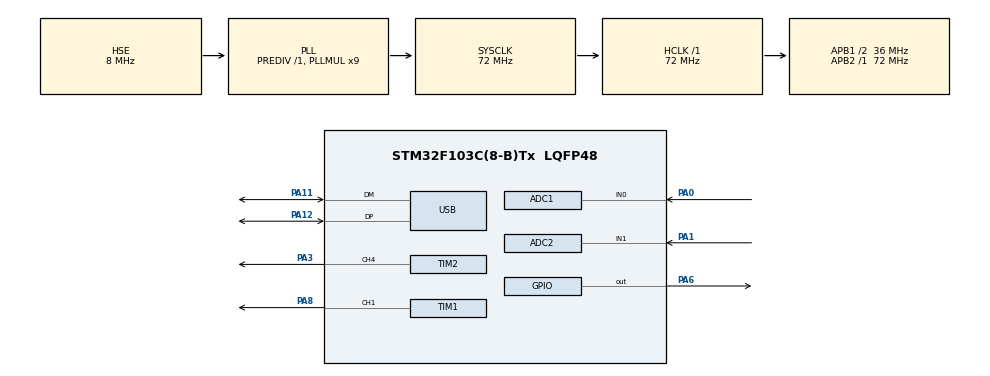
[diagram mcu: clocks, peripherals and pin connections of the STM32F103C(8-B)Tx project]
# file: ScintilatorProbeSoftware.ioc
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ADC1.Channel-0\#ChannelRegularConversion=ADC_CHANNEL_0
ADC1.ContinuousConvMode=ENABLE
ADC1.NbrOfConversionFlag=1
ADC1.Rank-0\#ChannelRegularConversion=1
ADC1.SamplingTime-0\#ChannelRegularConversion=ADC_SAMPLETIME_239CYCLES_5
ADC1.master=1
ADC2.Channel-0\#ChannelRegularConversion=ADC_CHANNEL_1
ADC2.ContinuousConvMode=ENABLE
ADC2.NbrOfConversionFlag=1
ADC2.Rank-0\#ChannelRegularConversion=1
ADC2.SamplingTime-0\#ChannelRegularConversion=ADC_SAMPLETIME_1CYCLE_5
Mcu.Family=STM32F1
Mcu.Name=STM32F103C(8-B)Tx
Mcu.Package=LQFP48
NVIC.ADC1_2_IRQn=true\:0\:0\:false\:false\:true\:true\:true\:true
NVIC.PriorityGroup=NVIC_PRIORITYGROUP_4
NVIC.TIM3_IRQn=true\:0\:0\:false\:false\:true\:true\:true\:true
NVIC.USB_LP_CAN1_RX0_IRQn=true\:0\:0\:false\:false\:true\:false\:true\:true
PA0-WKUP.Signal=ADCx_IN0
PA1.Signal=ADCx_IN1
PA11.Mode=Device
PA11.Signal=USB_DM
PA12.Mode=Device
PA12.Signal=USB_DP
PA13.Mode=Serial_Wire
PA13.Signal=SYS_JTMS-SWDIO
PA14.Mode=Serial_Wire
PA14.Signal=SYS_JTCK-SWCLK
PA3.Signal=S_TIM2_CH4
PA6.Signal=GPIO_Output
PA8.Signal=S_TIM1_CH1
PC14-OSC32_IN.Mode=LSE-External-Oscillator
PC14-OSC32_IN.Signal=RCC_OSC32_IN
PC15-OSC32_OUT.Mode=LSE-External-Oscillator
PC15-OSC32_OUT.Signal=RCC_OSC32_OUT
PD0-OSC_IN.Mode=HSE-External-Oscillator
PD0-OSC_IN.Signal=RCC_OSC_IN
PD1-OSC_OUT.Mode=HSE-External-Oscillator
PD1-OSC_OUT.Signal=RCC_OSC_OUT
ProjectManager.HeapSize=0x200
ProjectManager.StackSize=0x400
ProjectManager.TargetToolchain=STM32CubeIDE
RCC.ADCPresc=RCC_ADCPCLK2_DIV6
RCC.AHBFreq_Value=72000000
RCC.APB1CLKDivider=RCC_HCLK_DIV2
RCC.APB1Freq_Value=36000000
RCC.APB1TimFreq_Value=72000000
RCC.APB2Freq_Value=72000000
RCC.APB2TimFreq_Value=72000000
RCC.HCLKFreq_Value=72000000
RCC.PLLMUL=RCC_PLL_MUL9
RCC.SYSCLKFreq_VALUE=72000000
RCC.SYSCLKSource=RCC_SYSCLKSOURCE_PLLCLK
RCC.USBFreq_Value=48000000
RCC.USBPrescaler=RCC_USBCLKSOURCE_PLL_DIV1_5
SH.ADCx_IN0.0=ADC1_IN0,IN0
SH.ADCx_IN1.0=ADC2_IN1,IN1
SH.S_TIM1_CH1.0=TIM1_CH1,PWM Generation1 CH1
SH.S_TIM2_CH4.0=TIM2_CH4,PWM Generation4 CH4
TIM1.AutoReloadPreload=TIM_AUTORELOAD_PRELOAD_ENABLE
TIM1.Channel-PWM\ Generation1\ CH1=TIM_CHANNEL_1
TIM1.CounterMode=TIM_COUNTERMODE_UP
TIM1.OCIdleState_1=TIM_OCIDLESTATE_RESET
TIM1.OCPolarity_1=TIM_OCPOLARITY_HIGH
TIM1.Period=1400
TIM2.Channel-PWM\ Generation4\ CH4=TIM_CHANNEL_4
TIM2.Period=600
TIM2.Prescaler=100
TIM3.Period=100
TIM3.Prescaler=6399
USB_DEVICE.APP_RX_DATA_SIZE=512
USB_DEVICE.APP_TX_DATA_SIZE=512
USB_DEVICE.CLASS_NAME_FS=CDC
USB_DEVICE.VirtualMode=Cdc
USB_DEVICE.VirtualModeFS=Cdc_FS
VP_TIM3_VS_ClockSourceINT.Mode=Internal
VP_TIM3_VS_OPM.Mode=OPM_bit
VP_USB_DEVICE_VS_USB_DEVICE_CDC_FS.Mode=CDC_FS
board=custom

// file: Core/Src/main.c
/* USER CODE BEGIN Header */
/**
  ******************************************************************************
  * @file           : main.c
  * @brief          : Main program body
  ******************************************************************************
  * @attention
  *
  * Copyright (c) 2025 STMicroelectronics.
  * All rights reserved.
  *
  * This software is licensed under terms that can be found in the LICENSE file
  * in the root directory of this software component.
  * If no LICENSE file comes with this software, it is provided AS-IS.
  *
  ******************************************************************************
  */
/* USER CODE END Header */
#include "main.h"
#include "usb_device.h"

/* USER CODE BEGIN Includes */
#include "usbd_cdc_if.h"
#include <string.h>
#include <math.h>
/* USER CODE END Includes */

/* USER CODE BEGIN PTD */
typedef struct GcodeArgument {
    char name;
    float value;
} GcodeArgument;

typedef struct Gcode {
    int valid;
    char letter;
    int number;
    int arg_len;
    GcodeArgument arguments[32];
} Gcode;
/* USER CODE END PTD */

/* USER CODE BEGIN PM */
#define ADC_TO_VOLTAGE 0.7510653409
#define MAX_PWM 1200

#define PEAK_THRESSHOLD 200
#define PEAK_RESET_SAMPLES 5

#define REPORT_CHUNK 100
#define REPORT_DECIMATION 10
/* USER CODE END PM */

ADC_HandleTypeDef hadc1;
ADC_HandleTypeDef hadc2;

TIM_HandleTypeDef htim1;
TIM_HandleTypeDef htim2;
TIM_HandleTypeDef htim3;

/* USER CODE BEGIN PV */
int pwm_value = 0;

float target_voltage = 0.0;

uint32_t peak_height = 0;
uint32_t peak_reset_counter = 0;

uint16_t voltage_history[REPORT_CHUNK];
uint16_t pwm_history[REPORT_CHUNK];
uint16_t history_index = 0;
uint16_t decimation_index = 0;
/* USER CODE END PV */

void SystemClock_Config(void);
static void MX_GPIO_Init(void);
static void MX_TIM1_Init(void);
static void MX_ADC1_Init(void);
static void MX_ADC2_Init(void);
static void MX_TIM2_Init(void);
static void MX_TIM3_Init(void);

/* USER CODE BEGIN 0 */
uint8_t TxBuffer[] = "Hello World! From STM32 USB CDC Device To Virtual COM Port\r\n";
uint8_t TxBufferLen = sizeof(TxBuffer);
/* USER CODE END 0 */

int main(void)
{

  /* MCU Configuration--------------------------------------------------------*/

  /* Reset of all peripherals, Initializes the Flash interface and the Systick. */
  HAL_Init();

  /* Configure the system clock */
  SystemClock_Config();

  /* Initialize all configured peripherals */
  MX_GPIO_Init();
  MX_USB_DEVICE_Init();
  MX_TIM1_Init();
  MX_ADC1_Init();
  MX_ADC2_Init();
  MX_TIM2_Init();
  MX_TIM3_Init();
  /* USER CODE BEGIN 2 */
  TIM1->CCR1 = 1400;
  TIM2->CCR4 = 300;
  HAL_TIM_PWM_Start(&htim1, TIM_CHANNEL_1);
  HAL_TIM_PWM_Start(&htim2, TIM_CHANNEL_4);
  HAL_TIM_Base_Start_IT(&htim3);
  HAL_ADC_Start_IT(&hadc1);
  HAL_ADC_Start_IT(&hadc2);
  /* USER CODE END 2 */

  /* Infinite loop */
  while (1)
  {

    /* USER CODE BEGIN 3 */
	//CDC_Transmit_FS(TxBuffer, TxBufferLen);
	//HAL_Delay(1000);
  }
  /* USER CODE END 3 */
}

void SystemClock_Config(void)
{
  RCC_OscInitTypeDef RCC_OscInitStruct = {0};
  RCC_ClkInitTypeDef RCC_ClkInitStruct = {0};
  RCC_PeriphCLKInitTypeDef PeriphClkInit = {0};

  /** Initializes the RCC Oscillators according to the specified parameters
  * in the RCC_OscInitTypeDef structure.
  */
  RCC_OscInitStruct.OscillatorType = RCC_OSCILLATORTYPE_HSE;
  RCC_OscInitStruct.HSEState = RCC_HSE_ON;
  RCC_OscInitStruct.HSEPredivValue = RCC_HSE_PREDIV_DIV1;
  RCC_OscInitStruct.HSIState = RCC_HSI_ON;
  RCC_OscInitStruct.PLL.PLLState = RCC_PLL_ON;
  RCC_OscInitStruct.PLL.PLLSource = RCC_PLLSOURCE_HSE;
  RCC_OscInitStruct.PLL.PLLMUL = RCC_PLL_MUL9;
  if (HAL_RCC_OscConfig(&RCC_OscInitStruct) != HAL_OK)
  {
    Error_Handler();
  }

  /** Initializes the CPU, AHB and APB buses clocks
  */
  RCC_ClkInitStruct.ClockType = RCC_CLOCKTYPE_HCLK|RCC_CLOCKTYPE_SYSCLK
                              |RCC_CLOCKTYPE_PCLK1|RCC_CLOCKTYPE_PCLK2;
  RCC_ClkInitStruct.SYSCLKSource = RCC_SYSCLKSOURCE_PLLCLK;
  RCC_ClkInitStruct.AHBCLKDivider = RCC_SYSCLK_DIV1;
  RCC_ClkInitStruct.APB1CLKDivider = RCC_HCLK_DIV2;
  RCC_ClkInitStruct.APB2CLKDivider = RCC_HCLK_DIV1;

  if (HAL_RCC_ClockConfig(&RCC_ClkInitStruct, FLASH_LATENCY_2) != HAL_OK)
  {
    Error_Handler();
  }
  PeriphClkInit.PeriphClockSelection = RCC_PERIPHCLK_ADC|RCC_PERIPHCLK_USB;
  PeriphClkInit.AdcClockSelection = RCC_ADCPCLK2_DIV6;
  PeriphClkInit.UsbClockSelection = RCC_USBCLKSOURCE_PLL_DIV1_5;
  if (HAL_RCCEx_PeriphCLKConfig(&PeriphClkInit) != HAL_OK)
  {
    Error_Handler();
  }
}

static void MX_ADC1_Init(void)
{

  ADC_ChannelConfTypeDef sConfig = {0};

  /** Common config
  */
  hadc1.Instance = ADC1;
  hadc1.Init.ScanConvMode = ADC_SCAN_DISABLE;
  hadc1.Init.ContinuousConvMode = ENABLE;
  hadc1.Init.DiscontinuousConvMode = DISABLE;
  hadc1.Init.ExternalTrigConv = ADC_SOFTWARE_START;
  hadc1.Init.DataAlign = ADC_DATAALIGN_RIGHT;
  hadc1.Init.NbrOfConversion = 1;
  if (HAL_ADC_Init(&hadc1) != HAL_OK)
  {
    Error_Handler();
  }

  /** Configure Regular Channel
  */
  sConfig.Channel = ADC_CHANNEL_0;
  sConfig.Rank = ADC_REGULAR_RANK_1;
  sConfig.SamplingTime = ADC_SAMPLETIME_239CYCLES_5;
  if (HAL_ADC_ConfigChannel(&hadc1, &sConfig) != HAL_OK)
  {
    Error_Handler();
  }

}

static void MX_ADC2_Init(void)
{

  ADC_ChannelConfTypeDef sConfig = {0};

  /** Common config
  */
  hadc2.Instance = ADC2;
  hadc2.Init.ScanConvMode = ADC_SCAN_DISABLE;
  hadc2.Init.ContinuousConvMode = ENABLE;
  hadc2.Init.DiscontinuousConvMode = DISABLE;
  hadc2.Init.ExternalTrigConv = ADC_SOFTWARE_START;
  hadc2.Init.DataAlign = ADC_DATAALIGN_RIGHT;
  hadc2.Init.NbrOfConversion = 1;
  if (HAL_ADC_Init(&hadc2) != HAL_OK)
  {
    Error_Handler();
  }

  /** Configure Regular Channel
  */
  sConfig.Channel = ADC_CHANNEL_1;
  sConfig.Rank = ADC_REGULAR_RANK_1;
  sConfig.SamplingTime = ADC_SAMPLETIME_1CYCLE_5;
  if (HAL_ADC_ConfigChannel(&hadc2, &sConfig) != HAL_OK)
  {
    Error_Handler();
  }

}

static void MX_TIM1_Init(void)
{

  TIM_MasterConfigTypeDef sMasterConfig = {0};
  TIM_OC_InitTypeDef sConfigOC = {0};
  TIM_BreakDeadTimeConfigTypeDef sBreakDeadTimeConfig = {0};

  htim1.Instance = TIM1;
  htim1.Init.Prescaler = 0;
  htim1.Init.CounterMode = TIM_COUNTERMODE_UP;
  htim1.Init.Period = 1400;
  htim1.Init.ClockDivision = TIM_CLOCKDIVISION_DIV1;
  htim1.Init.RepetitionCounter = 0;
  htim1.Init.AutoReloadPreload = TIM_AUTORELOAD_PRELOAD_ENABLE;
  if (HAL_TIM_PWM_Init(&htim1) != HAL_OK)
  {
    Error_Handler();
  }
  sMasterConfig.MasterOutputTrigger = TIM_TRGO_RESET;
  sMasterConfig.MasterSlaveMode = TIM_MASTERSLAVEMODE_DISABLE;
  if (HAL_TIMEx_MasterConfigSynchronization(&htim1, &sMasterConfig) != HAL_OK)
  {
    Error_Handler();
  }
  sConfigOC.OCMode = TIM_OCMODE_PWM1;
  sConfigOC.Pulse = 0;
  sConfigOC.OCPolarity = TIM_OCPOLARITY_HIGH;
  sConfigOC.OCNPolarity = TIM_OCNPOLARITY_HIGH;
  sConfigOC.OCFastMode = TIM_OCFAST_DISABLE;
  sConfigOC.OCIdleState = TIM_OCIDLESTATE_RESET;
  sConfigOC.OCNIdleState = TIM_OCNIDLESTATE_RESET;
  if (HAL_TIM_PWM_ConfigChannel(&htim1, &sConfigOC, TIM_CHANNEL_1) != HAL_OK)
  {
    Error_Handler();
  }
  sBreakDeadTimeConfig.OffStateRunMode = TIM_OSSR_DISABLE;
  sBreakDeadTimeConfig.OffStateIDLEMode = TIM_OSSI_DISABLE;
  sBreakDeadTimeConfig.LockLevel = TIM_LOCKLEVEL_OFF;
  sBreakDeadTimeConfig.DeadTime = 0;
  sBreakDeadTimeConfig.BreakState = TIM_BREAK_DISABLE;
  sBreakDeadTimeConfig.BreakPolarity = TIM_BREAKPOLARITY_HIGH;
  sBreakDeadTimeConfig.AutomaticOutput = TIM_AUTOMATICOUTPUT_DISABLE;
  if (HAL_TIMEx_ConfigBreakDeadTime(&htim1, &sBreakDeadTimeConfig) != HAL_OK)
  {
    Error_Handler();
  }
  HAL_TIM_MspPostInit(&htim1);

}

static void MX_TIM2_Init(void)
{

  TIM_MasterConfigTypeDef sMasterConfig = {0};
  TIM_OC_InitTypeDef sConfigOC = {0};

  htim2.Instance = TIM2;
  htim2.Init.Prescaler = 100;
  htim2.Init.CounterMode = TIM_COUNTERMODE_UP;
  htim2.Init.Period = 600;
  htim2.Init.ClockDivision = TIM_CLOCKDIVISION_DIV1;
  htim2.Init.AutoReloadPreload = TIM_AUTORELOAD_PRELOAD_DISABLE;
  if (HAL_TIM_PWM_Init(&htim2) != HAL_OK)
  {
    Error_Handler();
  }
  sMasterConfig.MasterOutputTrigger = TIM_TRGO_RESET;
  sMasterConfig.MasterSlaveMode = TIM_MASTERSLAVEMODE_DISABLE;
  if (HAL_TIMEx_MasterConfigSynchronization(&htim2, &sMasterConfig) != HAL_OK)
  {
    Error_Handler();
  }
  sConfigOC.OCMode = TIM_OCMODE_PWM1;
  sConfigOC.Pulse = 0;
  sConfigOC.OCPolarity = TIM_OCPOLARITY_HIGH;
  sConfigOC.OCFastMode = TIM_OCFAST_DISABLE;
  if (HAL_TIM_PWM_ConfigChannel(&htim2, &sConfigOC, TIM_CHANNEL_4) != HAL_OK)
  {
    Error_Handler();
  }
  HAL_TIM_MspPostInit(&htim2);

}

static void MX_TIM3_Init(void)
{

  TIM_ClockConfigTypeDef sClockSourceConfig = {0};
  TIM_MasterConfigTypeDef sMasterConfig = {0};

  htim3.Instance = TIM3;
  htim3.Init.Prescaler = 6399;
  htim3.Init.CounterMode = TIM_COUNTERMODE_UP;
  htim3.Init.Period = 5000;
  htim3.Init.ClockDivision = TIM_CLOCKDIVISION_DIV1;
  htim3.Init.AutoReloadPreload = TIM_AUTORELOAD_PRELOAD_DISABLE;
  if (HAL_TIM_Base_Init(&htim3) != HAL_OK)
  {
    Error_Handler();
  }
  sClockSourceConfig.ClockSource = TIM_CLOCKSOURCE_INTERNAL;
  if (HAL_TIM_ConfigClockSource(&htim3, &sClockSourceConfig) != HAL_OK)
  {
    Error_Handler();
  }
  if (HAL_TIM_OnePulse_Init(&htim3, TIM_OPMODE_SINGLE) != HAL_OK)
  {
    Error_Handler();
  }
  sMasterConfig.MasterOutputTrigger = TIM_TRGO_RESET;
  sMasterConfig.MasterSlaveMode = TIM_MASTERSLAVEMODE_DISABLE;
  if (HAL_TIMEx_MasterConfigSynchronization(&htim3, &sMasterConfig) != HAL_OK)
  {
    Error_Handler();
  }

}

static void MX_GPIO_Init(void)
{
  GPIO_InitTypeDef GPIO_InitStruct = {0};

  /* GPIO Ports Clock Enable */
  __HAL_RCC_GPIOC_CLK_ENABLE();
  __HAL_RCC_GPIOD_CLK_ENABLE();
  __HAL_RCC_GPIOA_CLK_ENABLE();

  /*Configure GPIO pin Output Level */
  HAL_GPIO_WritePin(GPIOA, GPIO_PIN_6, GPIO_PIN_RESET);

  /*Configure GPIO pin : PA6 */
  GPIO_InitStruct.Pin = GPIO_PIN_6;
  GPIO_InitStruct.Mode = GPIO_MODE_OUTPUT_PP;
  GPIO_InitStruct.Pull = GPIO_NOPULL;
  GPIO_InitStruct.Speed = GPIO_SPEED_FREQ_LOW;
  HAL_GPIO_Init(GPIOA, &GPIO_InitStruct);

}

/* USER CODE BEGIN 4 */

Gcode parse_gcode(char* buff, int len){
    Gcode gcode;
    gcode.valid = 1;
    gcode.arg_len = 0;
    char* index = buff;

    if(buff[0] >= 'A' && buff[0] <= 'Z'){
        gcode.letter = buff[0];
    }else if(buff[0] >= 'a' && buff[0] <= 'z'){
        gcode.letter = buff[0] - ('a'-'A');
    }else{
        gcode.valid = 0;
        return gcode;
    }
    index++;

    gcode.number = 0;
    while(index < buff+len){
        if(*index >= '0' && *index <= '9'){
            gcode.number = gcode.number*10 + (*index - '0');
        }else if (*index == ' ' || *index == '\n'){
            index++;
            break;
        }else{
            gcode.valid = 0;
            return gcode;
        }
        index++;
    }

    int arg_index = -1;
    int inside_arg = 0;
    int decimals = 0;
    while(index < buff+len){
        if(inside_arg){
            if(*index >= '0' && *index <= '9'){
                if(decimals == 0){
                    gcode.arguments[arg_index].value = gcode.arguments[arg_index].value*10 + (*index - '0');
                }else{
                    gcode.arguments[arg_index].value = gcode.arguments[arg_index].value + ((float)(*index - '0') * pow(0.1,decimals));
                    decimals++;
                }
            }else if(*index == '.'){
                if(decimals > 0){
                    gcode.valid = 0;
                    return gcode;
                }
                decimals = 1;
            }else if (*index == ' '){
                decimals = 0;
                inside_arg = 0;
            }else if(*index == '\n'){
                return gcode;
            }else{
                gcode.valid = 0;
                return gcode;
            }
        }else{
            if(*index >= 'A' && *index <= 'Z'){
                arg_index++;
                gcode.arguments[arg_index].name = *index;
                gcode.arguments[arg_index].value = 0;
                gcode.arg_len = arg_index+1;
                inside_arg = 1;
            }else if(*index >= 'a' && *index <= 'z'){
                arg_index++;
                gcode.arguments[arg_index].name = *index - ('a' - 'A');
                gcode.arguments[arg_index].value = 0;
                inside_arg = 1;
            }else if (*index == ' '){

            }else if (*index == '\n'){
                return gcode;
            }else{
                gcode.valid = 0;
                return gcode;
            }

        }
        index++;
    }

    return gcode;
}

int get_gcode_arg(Gcode* gcode, char arg_name, float* out){
	int i = 0;
	while(i<gcode->arg_len){
		if(gcode->arguments[i].name == arg_name){
			*out = gcode->arguments[i].value;
			return 1;
		}
		i++;
	}
	return 0;
}

void USB_CDC_RxHandler(uint8_t* Buf, uint32_t Len)
{
	Gcode gcode = parse_gcode((char*)Buf, Len);

	char TxBuffer[1024];
	if(Buf[0] == 'A'){
		float value = atof((char*)(Buf+1));
		sprintf(TxBuffer, "Received data starting with A and value %f\n", value);
	}else if (Buf[0] == 'B'){
		int value = atoll((char*)(Buf+1));
		sprintf(TxBuffer, "Received data starting with B and value %i\n", value);
	}else{
		sprintf(TxBuffer, "Received data not starting with A or B '%s' with len %i\n", Buf, (int)Len);
	}

	if(gcode.letter == 'P'){
		switch(gcode.number){
			case 1:
				float val = 0;
				if(get_gcode_arg(&gcode,'A', &val)){
					TIM1->CCR1 = 1400-(int)val;
					sprintf(TxBuffer, "Called P1 - set pwm to %ld\n", 1400-TIM1->CCR1);
				}else{
					sprintf(TxBuffer, "Called P1 - actual pwm: %ld\n",1400-TIM1->CCR1);
				}
				break;
			case 2:
				if(get_gcode_arg(&gcode,'V', &target_voltage)){
					sprintf(TxBuffer, "Called P1 - set voltage to %4.2f\n", target_voltage);
				}else{
					sprintf(TxBuffer, "Called P1 - actual voltage: %4.2f\n",target_voltage);
				}
				break;
		}
	}

	uint32_t l = strlen(TxBuffer);
    CDC_Transmit_FS((uint8_t*)TxBuffer, l);
}

//Sample rate 55_555kHz
void HAL_ADC_ConvCpltCallback(ADC_HandleTypeDef* hadc)
{
	if(hadc == &hadc1){
		// Read & Update The ADC Result
		uint32_t raw_adc = HAL_ADC_GetValue(&hadc1);

		float voltage = raw_adc*ADC_TO_VOLTAGE;

		if(decimation_index >= REPORT_DECIMATION){
			voltage_history[history_index] = (uint16_t)voltage;
			pwm_history[history_index] = 1400 - TIM1->CCR1;
			history_index++;
			decimation_index = 0;
		}

		if(history_index >= REPORT_CHUNK){
			history_index = 0;
			char TxBuffer[1024];
			sprintf(TxBuffer, "R1: %i\n",REPORT_CHUNK);
			uint32_t l = strlen(TxBuffer);
			memcpy(TxBuffer+l, voltage_history, sizeof(uint16_t)*REPORT_CHUNK);
			memcpy(TxBuffer+l + sizeof(uint16_t)*REPORT_CHUNK, pwm_history, sizeof(uint16_t)*REPORT_CHUNK);
			TxBuffer[l + sizeof(uint16_t)*(REPORT_CHUNK*2)] = '\n';
			CDC_Transmit_FS((uint8_t*)TxBuffer, l + sizeof(uint16_t)*(REPORT_CHUNK*2) + 1);
		}
		decimation_index++;
	}else if(hadc == &hadc2){
		if(peak_reset_counter == 0){
			uint32_t raw_adc = HAL_ADC_GetValue(&hadc1);
			if(raw_adc >= PEAK_THRESSHOLD){
				if(raw_adc > peak_height){
					peak_height = raw_adc;
				}else{
					char TxBuffer[1024];
					sprintf(TxBuffer, "R2:%lu\n",peak_height);
					uint32_t l = strlen(TxBuffer);
					CDC_Transmit_FS((uint8_t*)TxBuffer, l);
					peak_height = 0;
					peak_reset_counter = PEAK_RESET_SAMPLES;
					HAL_GPIO_WritePin(GPIOA, GPIO_PIN_6, GPIO_PIN_SET);
				}
			}
		}else{
			peak_reset_counter--;
			if(peak_reset_counter == 0){
				HAL_GPIO_WritePin(GPIOA, GPIO_PIN_6, GPIO_PIN_RESET);
			}
		}
	}
}

void HandleTim3(void){
	if (TIM2->CCR4){
		TIM2->CCR4 = 0;
	}else{
		TIM2->CCR4 = 300;
	}
	TIM3->CNT = 4500;
	HAL_TIM_Base_Stop_IT(&htim3);
	HAL_TIM_Base_Start_IT(&htim3);
}

/* USER CODE END 4 */

void Error_Handler(void)
{
  __disable_irq();
  while (1)
  {
  }
}
